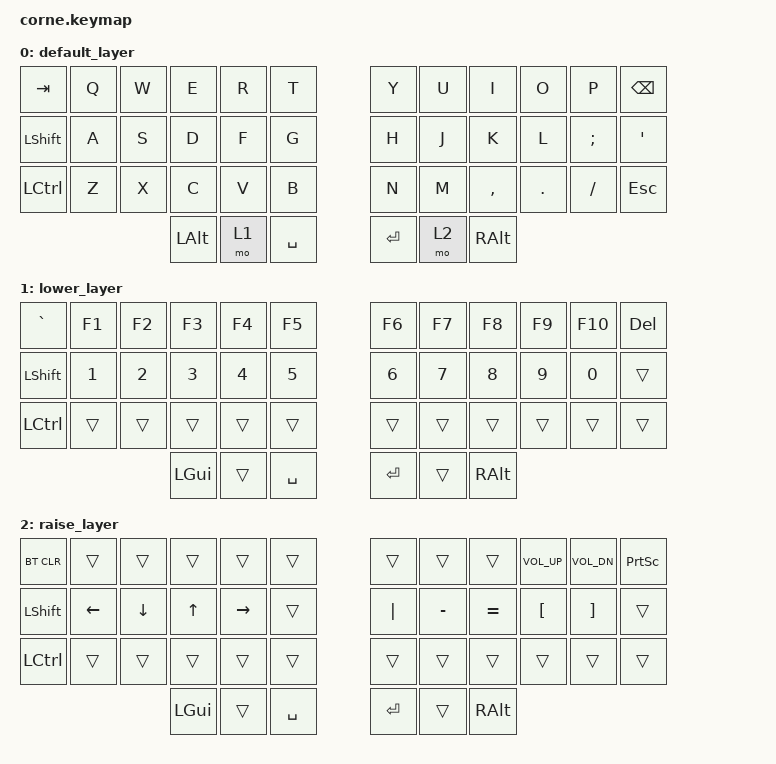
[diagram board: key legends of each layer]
/*
 * Copyright (c) 2020 The ZMK Contributors
 *
 * SPDX-License-Identifier: MIT
 */

#include <behaviors.dtsi>
#include <dt-bindings/zmk/keys.h>
#include <dt-bindings/zmk/bt.h>

/ {
        keymap {
                compatible = "zmk,keymap";

                default_layer {
                        bindings = <
                                &kp TAB   &kp Q &kp W &kp E &kp R &kp T   &kp Y &kp U  &kp I     &kp O   &kp P    &kp BSPC
                                &kp LSHFT &kp A &kp S &kp D &kp F &kp G   &kp H &kp J  &kp K     &kp L   &kp SEMI &kp SQT
                                &kp LCTRL &kp Z &kp X &kp C &kp V &kp B   &kp N &kp M  &kp COMMA &kp DOT &kp FSLH &kp ESC
                                                &kp LALT &mo 1 &kp SPACE  &kp RET &mo 2 &kp RALT
                        >;
                };
                lower_layer {
                        bindings = <
                                &kp GRAVE  &kp F1  &kp F2  &kp F3       &kp F4     &kp F5   &kp F6   &kp F7   &kp F8    &kp F9    &kp F10 &kp DEL 
                                &kp LSHFT  &kp N1  &kp N2  &kp N3       &kp N4     &kp N5   &kp N6   &kp N7   &kp N8    &kp N9    &kp N0  &trans
                                &kp LCTRL  &trans  &trans  &trans       &trans     &trans   &trans   &trans   &trans    &trans    &trans  &trans
                                                 &kp LGUI  &trans       &kp SPACE  &kp RET  &trans   &kp RALT
                        >;
                };

                raise_layer {
                        bindings = <
                                &bt BT_CLR &trans   &trans    &trans     &trans     &trans      &trans    &trans    &trans      &kp K_VOL_UP &kp K_VOL_DN &kp PSCRN 
                                &kp LSHFT  &kp LEFT &kp DOWN  &kp UP     &kp RIGHT  &trans      &kp PIPE  &kp MINUS &kp EQUAL   &kp LBKT     &kp RBKT     &trans
                                &kp LCTRL  &trans   &trans    &trans     &trans     &trans      &trans    &trans    &trans      &trans       &trans       &trans
                                                             &kp LGUI   &trans     &kp SPACE   &kp RET   &trans    &kp RALT
                        >;
                };
        };
};
